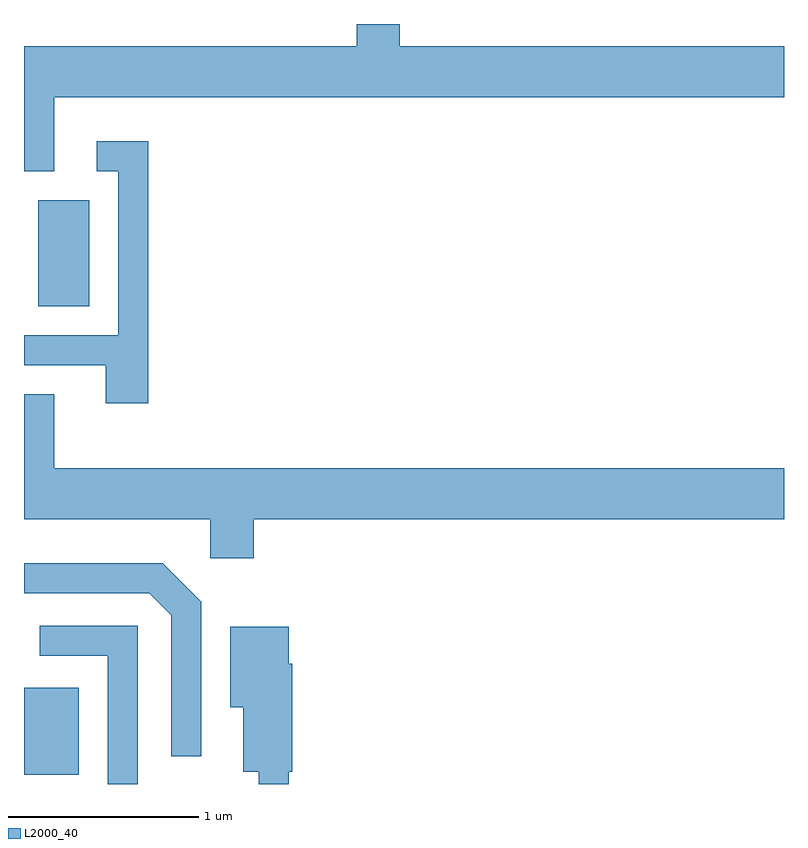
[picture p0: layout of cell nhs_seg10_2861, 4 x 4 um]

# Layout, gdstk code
import gdstk
lib = gdstk.Library(unit=1e-6, precision=1e-09)
def R(c, l, rs):  # rectangles x0, y0, x1, y1
    for r in rs: c.add(gdstk.rectangle(r[:2], r[2:], *l))
def P(c, l, *ps):  # polygons
    for p in ps: c.add(gdstk.Polygon(p, *l))
L2000_40 = (2000, 40)

nhs_seg10_2861 = lib.new_cell('nhs_seg10_2861')
R(nhs_seg10_2861, L2000_40, [(269.611,2112.571,269.899,2113.029), (269.686,2115.036,269.954,2115.594)])
P(nhs_seg10_2861, L2000_40, [(269.769,2116.136),(273.611,2116.136),(273.611,2116.404),(271.589,2116.404),(271.589,2116.522),(271.361,2116.522),(271.361,2116.404),(269.611,2116.404),(269.611,2115.746),(269.769,2115.746)],
  [(270.264,2115.904),(269.993,2115.904),(269.993,2115.746),(270.106,2115.746),(270.106,2114.884),(269.611,2114.884),(269.611,2114.726),(270.041,2114.726),(270.041,2114.526),(270.264,2114.526)],
  [(270.819,2113.916),(273.611,2113.916),(273.611,2114.184),(269.769,2114.184),(269.769,2114.574),(269.611,2114.574),(269.611,2113.916),(270.591,2113.916),(270.591,2113.711),(270.819,2113.711)],
  [(270.544,2113.482),(270.342,2113.684),(269.611,2113.684),(269.611,2113.526),(270.269,2113.526),(270.386,2113.409),(270.386,2112.668),(270.544,2112.668)],
  [(270.209,2113.354),(269.693,2113.354),(269.693,2113.196),(270.051,2113.196),(270.051,2112.522),(270.209,2112.522)],
  [(271.004,2112.586),(271.024,2112.586),(271.024,2113.154),(271.004,2113.154),(271.004,2113.349),(270.696,2113.349),(270.696,2112.926),(270.766,2112.926),(270.766,2112.586),(270.846,2112.586),(270.846,2112.522),(271.004,2112.522)])

lib.write_gds('nhs_seg10_2861.gds')
